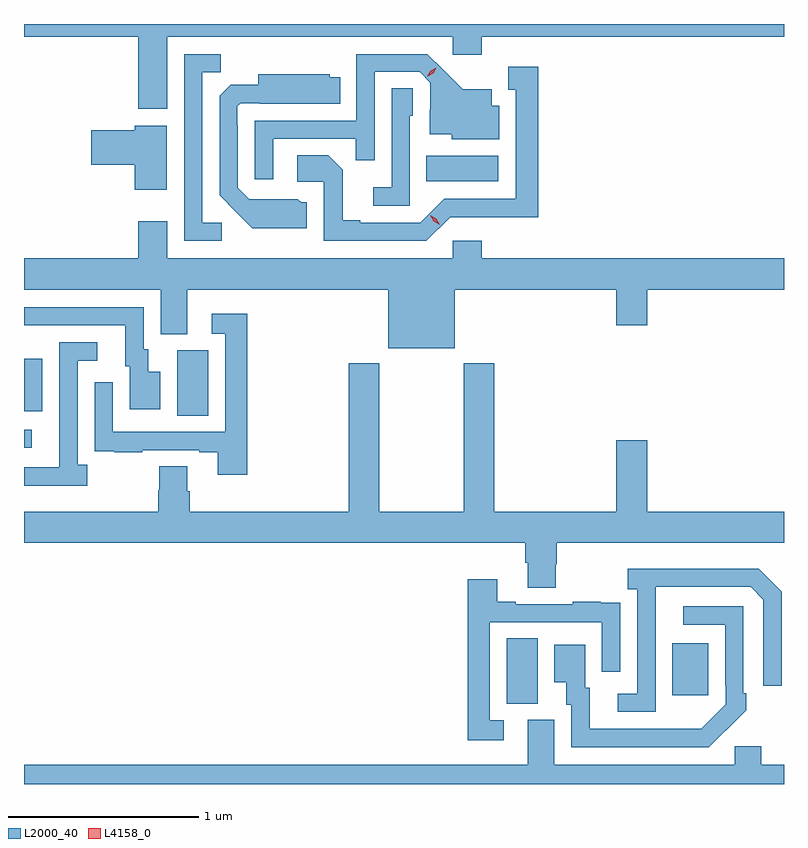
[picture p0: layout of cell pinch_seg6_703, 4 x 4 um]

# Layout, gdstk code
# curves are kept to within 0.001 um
import gdstk
lib = gdstk.Library(unit=1e-6, precision=1e-09)
def R(c, l, rs):  # rectangles x0, y0, x1, y1
    for r in rs: c.add(gdstk.rectangle(r[:2], r[2:], *l))
def P(c, l, *ps):  # polygons
    for p in ps: c.add(gdstk.Polygon(p, *l))
L2000_40 = (2000, 40)
L4158_0 = (4158, 0)

pinch_seg6_703 = lib.new_cell('pinch_seg6_703')
R(pinch_seg6_703, L2000_40, [(619.976,945.157,620.14,945.5), (620.849,945.201,621.037,945.475), (617.436,946.503,617.476,946.599), (618.242,946.672,618.406,947.016), (617.436,946.697,617.533,946.972), (619.552,947.906,619.933,948.04)])
P(pinch_seg6_703, L2000_40, [(618.19,948.668),(619.692,948.668),(619.692,948.573),(619.844,948.573),(619.844,948.668),(621.436,948.668),(621.436,948.734),(617.436,948.734),(617.436,948.668),(618.038,948.668),(618.038,948.288),(618.19,948.288)],
  [(618.478,947.688),(618.375,947.688),(618.375,948.481),(618.471,948.481),(618.471,948.576),(618.279,948.576),(618.279,947.592),(618.478,947.592)],
  [(618.747,948.129),(619.183,948.129),(619.183,948.016),(619.281,948.016),(619.281,948.483),(619.518,948.483),(619.575,948.426),(619.575,948.284),(619.571,948.284),(619.571,948.155),(619.686,948.155),(619.686,948.128),(619.936,948.128),(619.936,948.304),(619.897,948.304),(619.897,948.391),(619.745,948.391),(619.558,948.576),(619.185,948.576),(619.185,948.225),(618.651,948.225),(618.651,947.916),(618.747,947.916)],
  [(619.68,947.718),(620.143,947.717),(620.143,948.508),(619.985,948.508),(619.985,948.387),(620.024,948.387),(620.024,947.814),(619.647,947.814),(619.521,947.688),(619.207,947.688),(619.207,947.701),(619.113,947.701),(619.113,947.968),(619.037,948.044),(618.873,948.044),(618.873,947.904),(619.014,947.904),(619.014,947.592),(619.554,947.592)],
  [(618.925,947.796),(618.894,947.796),(618.878,947.812),(618.621,947.811),(618.561,947.871),(618.561,948.2),(618.558,948.2),(618.558,948.3),(618.576,948.318),(618.676,948.318),(618.676,948.314),(619.1,948.314),(619.1,948.454),(619.044,948.454),(619.044,948.469),(618.668,948.469),(618.668,948.415),(618.524,948.415),(618.465,948.356),(618.465,947.834),(618.637,947.66),(618.925,947.66)],
  [(619.467,948.252),(619.482,948.252),(619.482,948.395),(619.371,948.395),(619.371,947.875),(619.275,947.875),(619.275,947.778),(619.467,947.778)],
  [(618.187,948.199),(618.02,948.199),(618.02,948.176),(617.79,948.176),(617.79,947.993),(618.02,947.993),(618.02,947.862),(618.187,947.862)],
  [(619.702,947.336),(620.552,947.336),(620.552,947.148),(620.716,947.148),(620.716,947.336),(621.436,947.336),(621.436,947.5),(619.844,947.5),(619.844,947.593),(619.692,947.593),(619.692,947.5),(618.19,947.5),(618.19,947.695),(618.038,947.695),(618.038,947.5),(617.436,947.5),(617.436,947.336),(618.155,947.336),(618.155,947.101),(618.295,947.101),(618.295,947.336),(619.352,947.336),(619.352,947.027),(619.702,947.027)],
  [(618.154,946.903),(618.091,946.903),(618.091,947.022),(618.066,947.022),(618.066,947.244),(617.436,947.244),(617.436,947.148),(617.969,947.148),(617.969,946.932),(617.993,946.932),(617.993,946.707),(618.154,946.707)],
  [(618.611,947.209),(618.423,947.209),(618.423,947.103),(618.495,947.103),(618.495,946.587),(617.904,946.587),(617.904,946.849),(617.808,946.849),(617.808,946.594),(617.809,946.594),(617.809,946.485),(617.911,946.485),(617.911,946.479),(618.059,946.479),(618.059,946.491),(618.359,946.491),(618.359,946.479),(618.455,946.479),(618.455,946.362),(618.611,946.362)],
  [(617.77,946.414),(617.718,946.414),(617.718,946.962),(617.821,946.962),(617.821,947.058),(617.622,947.058),(617.622,946.601),(617.621,946.601),(617.621,946.401),(617.436,946.401),(617.436,946.304),(617.77,946.304)],
  [(620.235,945.891),(620.24,945.891),(620.24,946.004),(621.436,946.004),(621.436,946.168),(620.716,946.168),(620.716,946.543),(620.552,946.543),(620.552,946.168),(619.91,946.168),(619.91,946.948),(619.75,946.948),(619.75,946.168),(619.305,946.168),(619.305,946.948),(619.145,946.948),(619.145,946.168),(618.308,946.168),(618.308,946.274),(618.295,946.274),(618.295,946.406),(618.148,946.406),(618.148,946.281),(618.143,946.281),(618.143,946.168),(617.436,946.168),(617.436,946.004),(620.075,946.004),(620.075,945.898),(620.087,945.898),(620.087,945.766),(620.235,945.766)],
  [(620.76,945.571),(620.761,945.771),(621.261,945.771),(621.327,945.705),(621.327,945.252),(621.423,945.252),(621.423,945.747),(621.302,945.868),(620.613,945.868),(620.613,945.758),(620.664,945.758),(620.664,945.21),(620.562,945.21),(620.562,945.114),(620.76,945.114)],
  [(619.96,945.069),(619.887,945.069),(619.887,945.585),(620.478,945.585),(620.478,945.324),(620.574,945.324),(620.574,945.578),(620.573,945.578),(620.573,945.687),(620.471,945.687),(620.471,945.694),(620.323,945.694),(620.323,945.681),(620.023,945.681),(620.023,945.694),(619.927,945.694),(619.927,945.811),(619.771,945.811),(619.771,944.964),(619.96,944.964)],
  [(621.131,945.019),(621.132,945.018),(621.237,945.123),(621.237,945.211),(621.222,945.211),(621.222,945.669),(620.907,945.669),(620.907,945.573),(621.126,945.573),(621.126,945.253),(621.129,945.253),(621.129,945.153),(621.001,945.025),(620.413,945.024),(620.413,945.24),(620.389,945.24),(620.389,945.466),(620.228,945.466),(620.228,945.269),(620.291,945.269),(620.291,945.15),(620.316,945.15),(620.316,944.928),(621.04,944.928)],
  [(620.087,945.072),(620.087,944.836),(617.436,944.836),(617.436,944.734),(621.436,944.734),(621.436,944.836),(621.316,944.836),(621.316,944.934),(621.177,944.934),(621.177,944.836),(620.227,944.836),(620.227,945.072)])
P(pinch_seg6_703, L4158_0, [(619.624,947.677),(619.592,947.695),(619.574,947.727),(619.574,947.728),(619.575,947.728),(619.606,947.709),(619.624,947.677),(619.624,947.677)],
  [(619.559,948.458),(619.559,948.458),(619.576,948.488),(619.607,948.503),(619.607,948.503),(619.607,948.503),(619.59,948.474),(619.56,948.458)])

lib.write_gds('pinch_seg6_703.gds')
